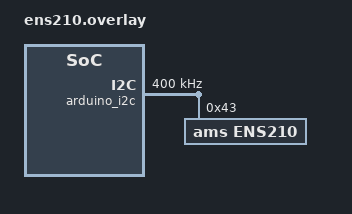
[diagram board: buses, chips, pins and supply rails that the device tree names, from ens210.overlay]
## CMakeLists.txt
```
# SPDX-License-Identifier: Apache-2.0

cmake_minimum_required(VERSION 3.13.1)

set(DTC_OVERLAY_FILE "${CMAKE_CURRENT_SOURCE_DIR}/ens210.overlay")

find_package(Zephyr REQUIRED HINTS $ENV{ZEPHYR_BASE})
project(ens210)

FILE(GLOB app_sources src/*.c)
target_sources(app PRIVATE ${app_sources})
```

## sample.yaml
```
sample:
  description: Demonstration of the AMS Temperature and Humidity Sensor driver
  name: ENS210 sample
tests:
  sample.sensor.ens210:
    harness: sensor
    tags: samples
    depends_on: i2c arduino_i2c
```

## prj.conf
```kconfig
CONFIG_I2C=y
CONFIG_SENSOR=y
CONFIG_ENS210=y
```

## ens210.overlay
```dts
/*
 * Copyright (c) 2018 Alexander Wachter
 * SPDX-License-Identifier: Apache-2.0
 */

&arduino_i2c {
	status = "okay";
	clock-frequency = <I2C_BITRATE_FAST>;

	ens210: ens210@43 {
		compatible = "ams,ens210";
		reg = <0x43>;
		label = "ENS210";
	};
};
```

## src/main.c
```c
/*
 * Copyright (c) 2018 Alexander Wachter
 *
 * SPDX-License-Identifier: Apache-2.0
 */

#include <zephyr.h>
#include <device.h>
#include <drivers/sensor.h>
#include <sys/printk.h>

void main(void)
{
	const struct device *dev;
	struct sensor_value temperature, humidity;

	dev = device_get_binding(DT_LABEL(DT_INST(0, ams_ens210)));
	if (!dev) {
		printk("Failed to get device binding");
		return;
	}

	printk("device is %p, name is %s\n", dev, dev->name);

	while (1) {
		sensor_sample_fetch(dev);
		sensor_channel_get(dev, SENSOR_CHAN_HUMIDITY, &humidity);
		sensor_channel_get(dev, SENSOR_CHAN_AMBIENT_TEMP, &temperature);
		printk("Temperature: %d.%06d C; Humidity: %d.%06d%%\n",
			temperature.val1, temperature.val2,
			humidity.val1, humidity.val2);

		k_sleep(K_MSEC(1000));
	}
}
```
